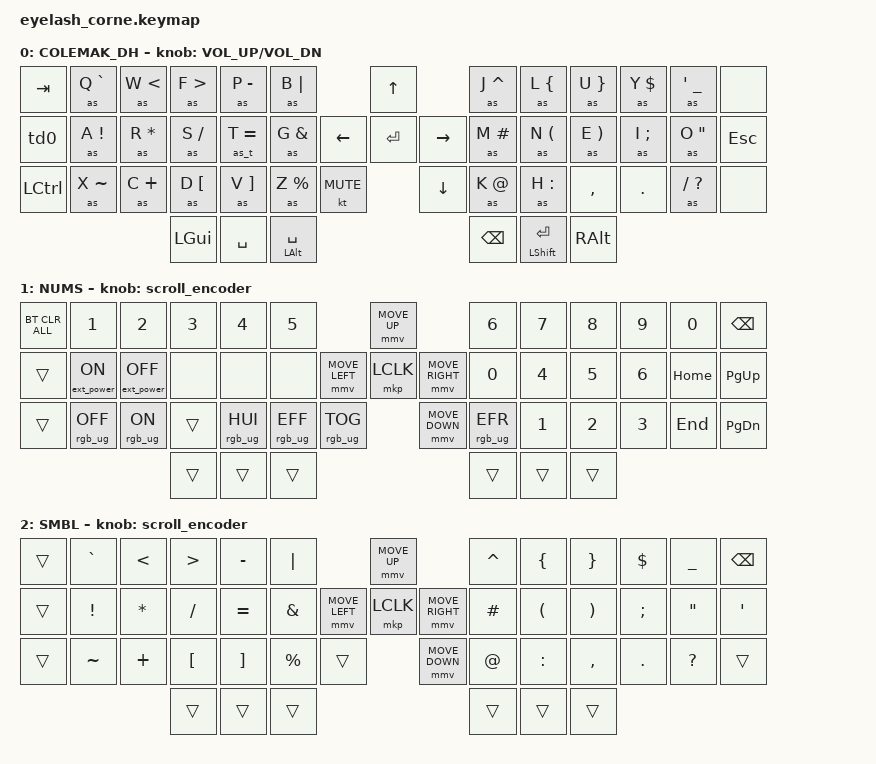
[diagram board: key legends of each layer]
#define ZMK_POINTING_DEFAULT_MOVE_VAL 1200  // 600
#define ZMK_POINTING_DEFAULT_SCRL_VAL 25   // 10

#include <input/processors.dtsi>
#include <zephyr/dt-bindings/input/input-event-codes.h>
#include <behaviors.dtsi>
#include <dt-bindings/zmk/bt.h>
#include <dt-bindings/zmk/ext_power.h>
#include <dt-bindings/zmk/keys.h>
#include <dt-bindings/zmk/outputs.h>
#include <dt-bindings/zmk/pointing.h>
#include <dt-bindings/zmk/rgb.h>

&mmv_input_listener { input-processors = <&zip_xy_scaler 2 1>; };

&msc_input_listener { input-processors = <&zip_scroll_scaler 2 1>; };

&msc {
    acceleration-exponent = <1>;      // 0
    time-to-max-speed-ms = <100>;       // 300
    delay-ms = <0>;                   // 0
};

&mmv {
    time-to-max-speed-ms = <500>;
    acceleration-exponent = <1>;
    trigger-period-ms = <16>;
};

&soft_off { hold-time-ms = <2000>; };

/ {
    behaviors {
        td0: td0 {
            compatible = "zmk,behavior-tap-dance";
            display-name = "Shift/Escape Tap Dance";
            #binding-cells = <0>;
            bindings = <&kp LEFT_SHIFT>, <&kp ESC>;
        };

        as: auto_symbol {
            compatible = "zmk,behavior-auto-symbol";
            display-name = "Auto Symbol";
            #binding-cells = <2>;
            tapping-term-ms = <180>;
            bindings = <&kp>, <&kp>;
        };

        as_t: auto_symbol_t {
            compatible = "zmk,behavior-auto-symbol";
            display-name = "Auto Symbol T";
            #binding-cells = <2>;
            tapping-term-ms = <180>;
            interrupt-layer = <1>;
            bindings = <&kp>, <&kp>;
        };

        tp_mt: tap_preferred_mod_tap {
            compatible = "zmk,behavior-hold-tap";
            display-name = "Tap Preferred Mod-Tap";
            #binding-cells = <2>;
            flavor = "tap-preferred";
            tapping-term-ms = <200>;
            bindings = <&kp>, <&kp>;
        };
    };

    rgb_encoder: rgb_encoder {
        compatible = "zmk,behavior-sensor-rotate";
        #sensor-binding-cells = <0>;
        bindings = <&rgb_ug RGB_BRI>, <&rgb_ug RGB_BRD>;
    };

    scroll_encoder: scroll_encoder {
        compatible = "zmk,behavior-sensor-rotate";
        #sensor-binding-cells = <0>;
        bindings = <&msc SCRL_DOWN>, <&msc SCRL_UP>;

        tap-ms = <100>;
    };

    combos {
        compatible = "zmk,combos";

        softoff {
            bindings = <&soft_off>;
            key-positions = <1 15 29>;
        };
    };

    keymap {
        compatible = "zmk,keymap";

        default_layer {
            display-name = "COLEMAK_DH";
            bindings = <
&kp TAB    &as Q GRAVE      &as W LT      &as F GT     &as P MINUS   &as B PIPE                                   &kp UP                  &as J CARET   &as L LBRC    &as U RBRC    &as Y DLLR    &as SQT UNDER   &none
&td0       &as A EXCL       &as R ASTRK   &as S FSLH   &as_t T EQUAL  &as G AMPS                        &kp LEFT  &kp ENTER  &kp RIGHT  &as M HASH    &as N LPAR    &as E RPAR    &as I SEMI    &as O DQT      &kp ESC
&kp LCTRL  &as X TILDE      &as C PLUS    &as D LBKT   &as V RBKT    &as Z PRCNT   &kt C_MUTE                &kp DOWN                &as K AT      &as H COLON   &kp COMMA     &kp DOT       &as FSLH QMARK  &none
                                             &kp LGUI     &kp SPACE     &tp_mt LALT SPACE                                                   &kp BSPC      &tp_mt LEFT_SHIFT ENTER  &kp RALT
            >;

            sensor-bindings = <&inc_dec_kp C_VOLUME_UP C_VOL_DN>;
        };

        lower_layer {
            display-name = "NUMS";
            bindings = <
&bt BT_CLR_ALL  &kp N1           &kp N2          &kp N3        &kp N4        &kp N5                                         &mmv MOVE_UP                     &kp N6           &kp N7        &kp N8        &kp N9     &kp N0     &kp BSPC
&trans          &ext_power EP_ON  &ext_power EP_OFF &none      &none         &none                          &mmv MOVE_LEFT  &mkp LCLK       &mmv MOVE_RIGHT  &kp N0           &kp N4        &kp N5        &kp N6     &kp HOME   &kp PG_UP
&trans          &rgb_ug RGB_OFF  &rgb_ug RGB_ON  &trans        &rgb_ug RGB_HUI &rgb_ug RGB_EFF  &rgb_ug RGB_TOG             &mmv MOVE_DOWN                   &rgb_ug RGB_EFR  &kp N1        &kp N2        &kp N3     &kp END    &kp PG_DN
                                                 &trans        &trans        &trans                                                                          &trans           &trans        &trans
            >;

            sensor-bindings = <&scroll_encoder>;
        };

        raise_layer {
            display-name = "SMBL";
            bindings = <
&trans  &kp GRAVE  &kp LT     &kp GT     &kp MINUS  &kp PIPE                            &mmv MOVE_UP                     &kp CARET  &kp LBRC   &kp RBRC   &kp DLLR   &kp UNDER  &kp BSPC
&trans  &kp EXCL   &kp ASTRK  &kp FSLH   &kp EQUAL  &kp AMPS            &mmv MOVE_LEFT  &mkp LCLK       &mmv MOVE_RIGHT  &kp HASH   &kp LPAR   &kp RPAR   &kp SEMI   &kp DQT    &kp SQT
&trans  &kp TILDE  &kp PLUS   &kp LBKT   &kp RBKT   &kp PRCNT  &trans                    &mmv MOVE_DOWN                   &kp AT     &kp COLON  &kp COMMA  &kp DOT    &kp QMARK  &trans
                              &trans     &trans     &trans                                                               &trans     &trans     &trans
            >;

            sensor-bindings = <&scroll_encoder>;
        };
    };
};
